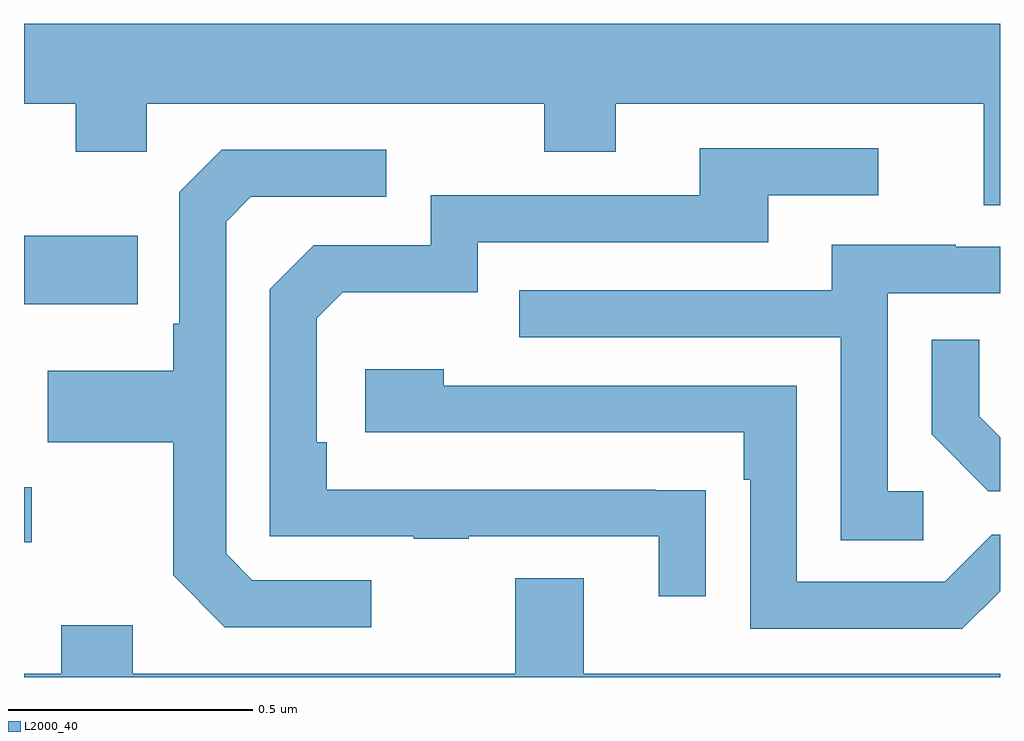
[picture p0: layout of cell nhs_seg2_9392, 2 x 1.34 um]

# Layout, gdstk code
import gdstk
lib = gdstk.Library(unit=1e-6, precision=1e-09)
def R(c, l, rs):  # rectangles x0, y0, x1, y1
    for r in rs: c.add(gdstk.rectangle(r[:2], r[2:], *l))
def P(c, l, *ps):  # polygons
    for p in ps: c.add(gdstk.Polygon(p, *l))
L2000_40 = (2000, 40)

nhs_seg2_9392 = lib.new_cell('nhs_seg2_9392')
R(nhs_seg2_9392, L2000_40, [(228,640.077,228.016,640.19), (228,640.565,228.233,640.705)])
P(nhs_seg2_9392, L2000_40, [(230,641.14),(228,641.14),(228,640.976),(228.106,640.976),(228.106,640.877),(228.252,640.877),(228.252,640.976),(229.066,640.976),(229.066,640.877),(229.213,640.877),(229.213,640.976),(229.967,640.976),(229.967,640.768),(230,640.768)],
  [(229.397,640.184),(229.295,640.184),(229.295,640.185),(228.62,640.185),(228.62,640.282),(228.6,640.282),(228.6,640.536),(228.653,640.589),(228.93,640.589),(228.93,640.692),(229.525,640.692),(229.525,640.788),(229.75,640.788),(229.75,640.884),(229.385,640.884),(229.385,640.788),(228.834,640.788),(228.834,640.686),(228.594,640.686),(228.504,640.596),(228.504,640.089),(228.799,640.089),(228.799,640.084),(228.911,640.084),(228.911,640.089),(229.301,640.089),(229.301,639.966),(229.397,639.966)],
  [(228.712,639.999),(228.468,639.999),(228.414,640.053),(228.414,640.734),(228.465,640.785),(228.742,640.785),(228.742,640.881),(228.405,640.881),(228.318,640.794),(228.318,640.525),(228.306,640.525),(228.306,640.429),(228.049,640.429),(228.049,640.282),(228.306,640.282),(228.306,640.009),(228.411,639.903),(228.712,639.903)],
  [(229.843,640.182),(229.77,640.182),(229.77,640.587),(230,640.587),(230,640.683),(229.909,640.683),(229.909,640.687),(229.655,640.687),(229.655,640.593),(229.015,640.593),(229.015,640.497),(229.674,640.497),(229.674,640.081),(229.843,640.081)],
  [(230,640.292),(229.957,640.335),(229.957,640.492),(229.86,640.492),(229.86,640.298),(229.976,640.182),(230,640.182)],
  [(230,639.977),(230,640.092),(229.983,640.092),(229.887,639.996),(229.584,639.996),(229.584,640.398),(228.86,640.398),(228.86,640.432),(228.699,640.432),(228.699,640.302),(229.475,640.302),(229.475,640.205),(229.488,640.205),(229.488,639.9),(229.923,639.9)],
  [(230,639.808),(229.147,639.808),(229.147,640.003),(229.007,640.003),(229.007,639.808),(228.223,639.808),(228.223,639.907),(228.076,639.907),(228.076,639.808),(228,639.808),(228,639.8),(230,639.8)])

lib.write_gds('nhs_seg2_9392.gds')
